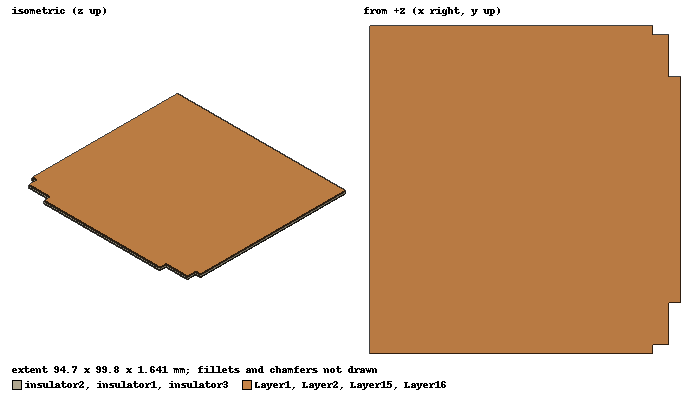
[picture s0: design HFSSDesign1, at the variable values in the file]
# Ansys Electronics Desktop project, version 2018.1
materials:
  vacuum: permittivity=1
  copper: permeability=0.999991 conductivity=58000000
  FR4_epoxy: permittivity=4.4 dielectric_loss_tangent=0.02

design HFSSDesign1 (HFSS, DrivenModal, model units mm)
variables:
  zC = 0
  p = 0
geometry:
  Layer1 [copper] = box(corner=(-44.8mm, -49.9mm, -10mm-zC*10mm+p*1.641mm), size=(94.7mm, 99.8mm, -0.0356mm))
  insulator1 [FR4_epoxy] = box(corner=(-44.8mm, -49.9mm, -10.0356mm-zC*10mm+p*1.641mm), size=(94.7mm, 99.8mm, -0.1702mm))
  Layer15 [copper] = box(corner=(-44.8mm, -49.9mm, -10.2058mm-zC*10mm+p*1.641mm), size=(94.7mm, 99.8mm, -0.0178mm))
  insulator2 [FR4_epoxy] = box(corner=(-44.8mm, -49.9mm, -10.2236mm-zC*10mm+p*1.641mm), size=(94.7mm, 99.8mm, -1.1938mm))
  Layer16 [copper] = box(corner=(-44.8mm, -49.9mm, -11.4174mm-zC*10mm+p*1.641mm), size=(94.7mm, 99.8mm, -0.0178mm))
  insulator3 [FR4_epoxy] = box(corner=(-44.8mm, -49.9mm, -11.4352mm-zC*10mm+p*1.641mm), size=(94.7mm, 99.8mm, -0.1702mm))
  Layer2 [copper] = box(corner=(-44.8mm, -49.9mm, -11.6054mm-zC*10mm+p*1.641mm), size=(94.7mm, 99.8mm, -0.0356mm))
  cornerCut1 = box(corner=(49.9mm, 49.9mm, -10mm-zC*10mm+p*1.641mm), size=(-8.5mm, -15.5mm, -1.641mm))
  cornerCut2 = box(corner=(49.9mm, -49.9mm, -10mm-zC*10mm+p*1.641mm), size=(-8.5mm, 15.5mm, -1.641mm))
  corner2 = box(corner=(41.4mm, -34.4mm, -10mm-zC*10mm+p*1.641mm), size=(4.9mm, -12.75mm, -1.641mm))
  corner1 = box(corner=(41.4mm, 34.4mm, -10mm-zC*10mm+p*1.641mm), size=(4.9mm, 12.75mm, -1.641mm))
  cornerCut1.subtract(corner1)
  cornerCut2.subtract(corner2)
  cornerCut1_1 = cornerCut1.copy()
  cornerCut2_1 = cornerCut2.copy()
  insulator1.subtract(cornerCut1_1, cornerCut2_1)
  cornerCut1_2 = cornerCut1.copy()
  cornerCut2_2 = cornerCut2.copy()
  insulator2.subtract(cornerCut1_2, cornerCut2_2)
  cornerCut1_3 = cornerCut1.copy()
  cornerCut2_3 = cornerCut2.copy()
  insulator3.subtract(cornerCut1_3, cornerCut2_3)
  cornerCut1_4 = cornerCut1.copy()
  cornerCut2_4 = cornerCut2.copy()
  Layer1.subtract(cornerCut1_4, cornerCut2_4)
  cornerCut1_5 = cornerCut1.copy()
  cornerCut2_5 = cornerCut2.copy()
  Layer15.subtract(cornerCut1_5, cornerCut2_5)
  cornerCut1_6 = cornerCut1.copy()
  cornerCut2_6 = cornerCut2.copy()
  Layer16.subtract(cornerCut1_6, cornerCut2_6)
  Layer2.subtract(cornerCut1, cornerCut2)
  Layer1.chamfer(Edges=Layer1.edge(11 of 12, 9 of 12) LeftDistance=5.8mm RightDistance=5.8mm ChamferType=Symmetric)
  insulator1.chamfer(Edges=insulator1.edge(11 of 12, 9 of 12) LeftDistance=5.8mm RightDistance=5.8mm ChamferType=Symmetric)
  Layer15.chamfer(Edges=Layer15.edge(11 of 12, 9 of 12) LeftDistance=5.8mm RightDistance=5.8mm ChamferType=Symmetric)
  insulator2.chamfer(Edges=insulator2.edge(11 of 12, 9 of 12) LeftDistance=5.8mm RightDistance=5.8mm ChamferType=Symmetric)
  Layer16.chamfer(Edges=Layer16.edge(11 of 12, 9 of 12) LeftDistance=5.8mm RightDistance=5.8mm ChamferType=Symmetric)
  insulator3.chamfer(Edges=insulator3.edge(11 of 12, 9 of 12) LeftDistance=5.8mm RightDistance=5.8mm ChamferType=Symmetric)
  Layer2.chamfer(Edges=Layer2.edge(11 of 12, 9 of 12) LeftDistance=5.8mm RightDistance=5.8mm ChamferType=Symmetric)
